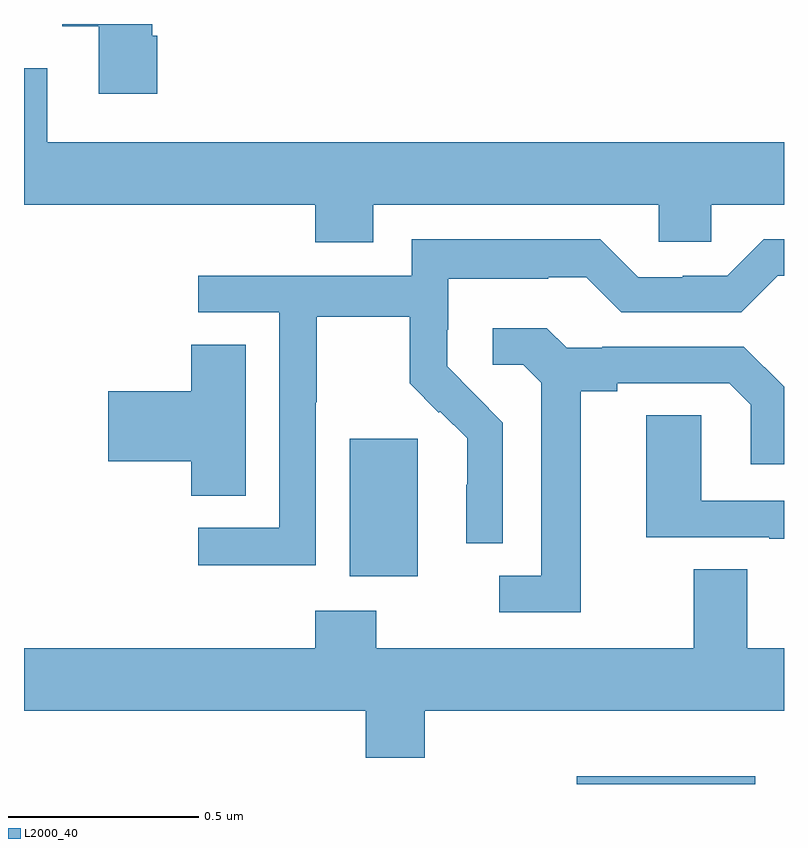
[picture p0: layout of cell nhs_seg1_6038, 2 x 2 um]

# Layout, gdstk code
import gdstk
lib = gdstk.Library(unit=1e-6, precision=1e-09)
def R(c, l, rs):  # rectangles x0, y0, x1, y1
    for r in rs: c.add(gdstk.rectangle(r[:2], r[2:], *l))
def P(c, l, *ps):  # polygons
    for p in ps: c.add(gdstk.Polygon(p, *l))
L2000_40 = (2000, 40)

nhs_seg1_6038 = lib.new_cell('nhs_seg1_6038')
R(nhs_seg1_6038, L2000_40, [(187.455,558.199,187.924,558.22), (186.857,558.746,187.036,559.107)])
P(nhs_seg1_6038, L2000_40, [(186.35,560.168),(186.337,560.168),(186.337,560.199),(186.101,560.199),(186.101,560.193),(186.197,560.193),(186.197,560.016),(186.35,560.016)],
  [(186.919,559.724),(187.671,559.724),(187.671,559.626),(187.809,559.626),(187.809,559.724),(188,559.724),(188,559.888),(186.061,559.888),(186.061,560.083),(186,560.083),(186,559.724),(186.767,559.724),(186.767,559.625),(186.919,559.625)],
  [(186.768,559.204),(186.771,559.204),(186.771,559.428),(187.015,559.428),(187.015,559.253),(187.092,559.176),(187.095,559.179),(187.166,559.109),(187.166,558.986),(187.164,558.986),(187.164,558.832),(187.26,558.832),(187.26,559.15),(187.187,559.223),(187.188,559.224),(187.114,559.298),(187.114,559.395),(187.116,559.395),(187.116,559.529),(187.379,559.529),(187.379,559.533),(187.479,559.533),(187.572,559.44),(187.887,559.44),(187.983,559.536),(188,559.536),(188,559.632),(187.947,559.632),(187.851,559.536),(187.733,559.536),(187.733,559.533),(187.617,559.533),(187.517,559.633),(187.02,559.633),(187.02,559.536),(186.459,559.536),(186.459,559.44),(186.672,559.44),(186.672,558.873),(186.459,558.873),(186.459,558.775),(186.768,558.775)],
  [(187.465,559.232),(187.561,559.232),(187.561,559.254),(187.856,559.254),(187.913,559.197),(187.913,559.041),(188,559.041),(188,559.244),(187.894,559.35),(187.522,559.35),(187.522,559.347),(187.428,559.347),(187.376,559.399),(187.233,559.399),(187.233,559.302),(187.314,559.302),(187.361,559.255),(187.361,558.747),(187.251,558.747),(187.251,558.651),(187.465,558.651)],
  [(186.583,559.355),(186.44,559.355),(186.44,559.232),(186.222,559.232),(186.222,559.049),(186.44,559.049),(186.44,558.958),(186.583,558.958)],
  [(188,558.945),(187.782,558.945),(187.782,559.169),(187.637,559.169),(187.637,558.849),(187.961,558.849),(187.961,558.845),(188,558.845)],
  [(187.055,558.392),(188,558.392),(188,558.556),(187.903,558.556),(187.903,558.764),(187.763,558.764),(187.763,558.556),(186.927,558.556),(186.927,558.655),(186.767,558.655),(186.767,558.556),(186,558.556),(186,558.392),(186.899,558.392),(186.899,558.268),(187.055,558.268)])

lib.write_gds('nhs_seg1_6038.gds')
